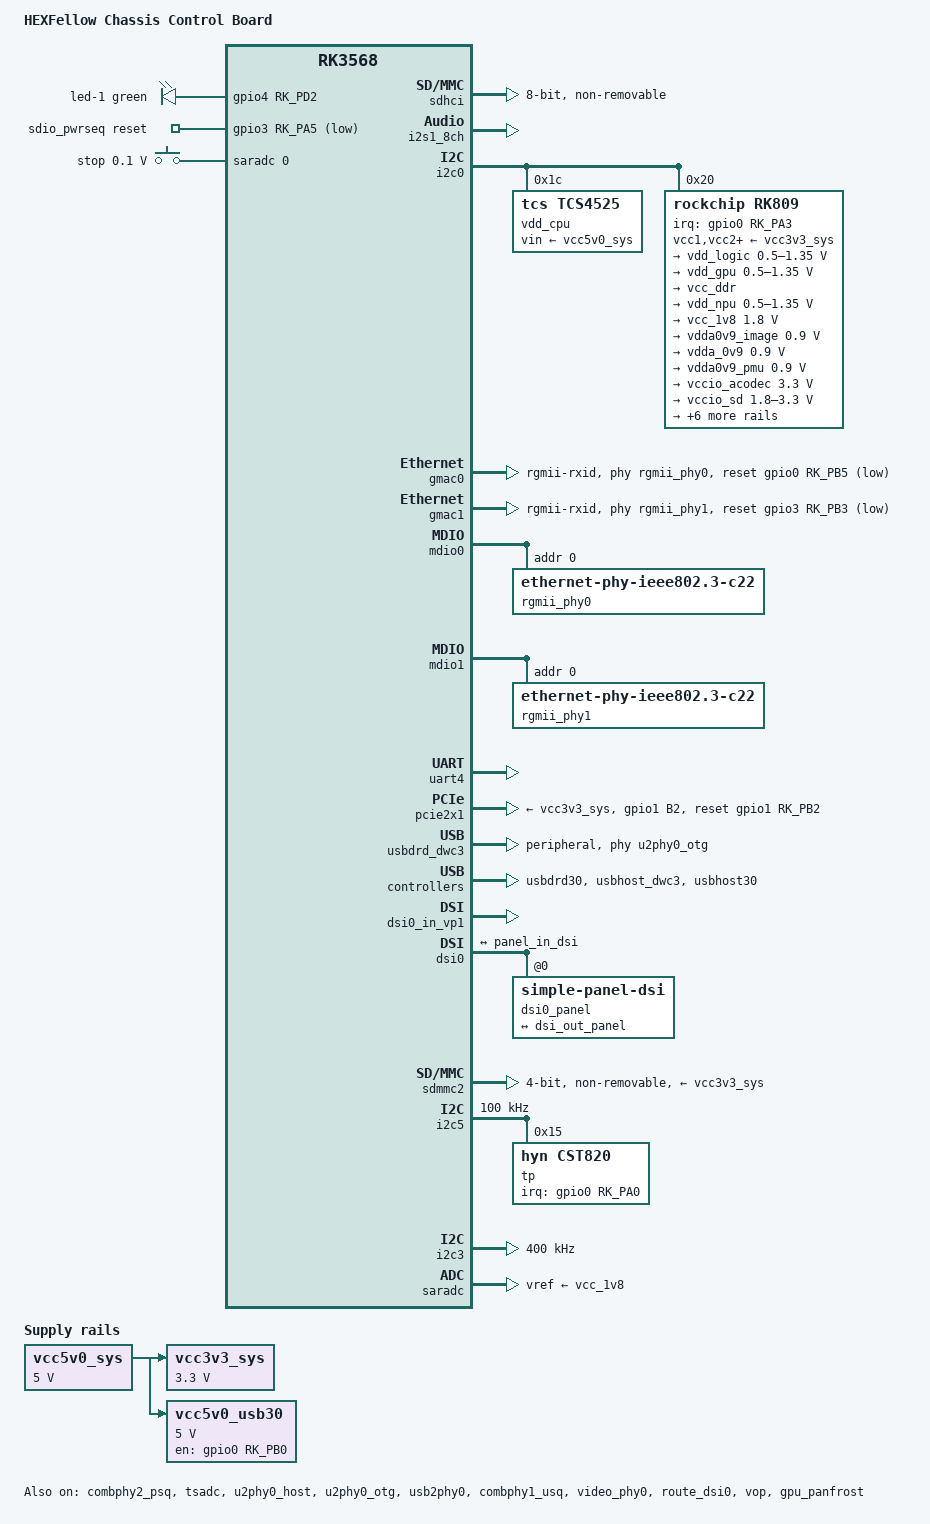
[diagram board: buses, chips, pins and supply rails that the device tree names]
// SPDX-License-Identifier: (GPL-2.0+ OR MIT)
/*
 * Copyright (c) 2022 Radxa Limited
 * Copyright (c) 2022 Amarula Solutions(India)
 */

/dts-v1/;
#include <dt-bindings/input/input.h>
#include <dt-bindings/gpio/gpio.h>
#include <dt-bindings/leds/common.h>
#include <dt-bindings/pinctrl/rockchip.h>
#include <dt-bindings/soc/rockchip,vop2.h>
#include <dt-bindings/display/drm_mipi_dsi.h>
#include <dt-bindings/phy/jlsemi-dt-phy.h>
#include "rk3568.dtsi"

/ {
	model = "HEXFellow Chassis Control Board";
	compatible = "hexfellow,ctrl-1", "rockchip,rk3568";

	aliases {
		ethernet0 = &gmac0;
		ethernet1 = &gmac1;
		mmc0 = &sdhci;
		mmc2 = &sdmmc2;
	};

	chosen: chosen {
		stdout-path = "serial2:1500000n8";
	};

	leds {
		compatible = "gpio-leds";

		led-1 {
			gpios = <&gpio4 RK_PD2 GPIO_ACTIVE_HIGH>;
			color = <LED_COLOR_ID_GREEN>;
			function = LED_FUNCTION_ACTIVITY;
			linux,default-trigger = "heartbeat";
			pinctrl-names = "default";
			pinctrl-0 = <&pi_nled_activity>;
		};
	};

	vcc5v0_sys: dc-5v-regulator {
		compatible = "regulator-fixed";
		regulator-name = "dc_5v";
		regulator-always-on;
		regulator-boot-on;
		regulator-min-microvolt = <5000000>;
		regulator-max-microvolt = <5000000>;
	};

	sdio_pwrseq: sdio-pwrseq {
		compatible = "mmc-pwrseq-simple";
		pinctrl-names = "default";
		pinctrl-0 = <&wifi_enable>;
		post-power-on-delay-ms = <100>;
		power-off-delay-us = <5000000>;
		reset-gpios = <&gpio3 RK_PA5 GPIO_ACTIVE_LOW>;
	};

	vcc3v3_sys: vcc3v3-sys-regulator {
		compatible = "regulator-fixed";
		regulator-name = "vcc3v3_sys";
		regulator-always-on;
		regulator-boot-on;
		regulator-min-microvolt = <3300000>;
		regulator-max-microvolt = <3300000>;
		vin-supply = <&vcc5v0_sys>;
	};

	vcc5v0_usb30: vcc5v0-usb30-regulator {
		compatible = "regulator-fixed";
		regulator-name = "vcc5v0_usb30";
		enable-active-high;
		gpio = <&gpio0 RK_PB0 GPIO_ACTIVE_HIGH>;
		pinctrl-names = "default";
		pinctrl-0 = <&vcc5v0_usb30_en_h>;
		regulator-always-on;
		regulator-min-microvolt = <5000000>;
		regulator-max-microvolt = <5000000>;
		vin-supply = <&vcc5v0_sys>;
	};

	rk809-sound {
		compatible = "simple-audio-card";
		simple-audio-card,format = "i2s";
		simple-audio-card,name = "rk809_ext";
		simple-audio-card,mclk-fs = <128>;
		simple-audio-card,cpu {
			sound-dai = <&i2s1_8ch>;
		};

		simple-audio-card,codec {
			sound-dai = <&rk809_codec>;
		};
	};

	fiq-debugger {
		compatible = "rockchip,fiq-debugger";
		rockchip,serial-id = <2>;
		rockchip,wake-irq = <0>;
		/* If enable uart uses irq instead of fiq */
		rockchip,irq-mode-enable = <1>;
		rockchip,baudrate = <1500000>;  /* Only 115200 and 1500000 */
		interrupts = <GIC_SPI 252 IRQ_TYPE_LEVEL_LOW>;
		pinctrl-names = "default";
		pinctrl-0 = <&uart2m0_xfer>;
		status = "okay";
	};

	debug: debug@fd904000 {
		compatible = "rockchip,debug";
		reg = <0x0 0xfd904000 0x0 0x1000>,
			<0x0 0xfd905000 0x0 0x1000>,
			<0x0 0xfd906000 0x0 0x1000>,
			<0x0 0xfd907000 0x0 0x1000>;
	};

	cspmu: cspmu@fd90c000 {
		compatible = "rockchip,cspmu";
		reg = <0x0 0xfd90c000 0x0 0x1000>,
			<0x0 0xfd90d000 0x0 0x1000>,
			<0x0 0xfd90e000 0x0 0x1000>,
			<0x0 0xfd90f000 0x0 0x1000>;
	};

	gpu_panfrost_opp_table: opp-table-panfrost {
		compatible = "operating-points-v2";

		opp-200000000 {
			opp-hz = /bits/ 64 <200000000>;
			opp-microvolt = <825000>;
		};

		opp-300000000 {
			opp-hz = /bits/ 64 <300000000>;
			opp-microvolt = <825000>;
		};

		opp-400000000 {
			opp-hz = /bits/ 64 <400000000>;
			opp-microvolt = <825000>;
		};

		opp-600000000 {
			opp-hz = /bits/ 64 <600000000>;
			opp-microvolt = <825000>;
		};

		opp-700000000 {
			opp-hz = /bits/ 64 <700000000>;
			opp-microvolt = <900000>;
		};

		opp-800000000 {
			opp-hz = /bits/ 64 <800000000>;
			opp-microvolt = <1000000>;
		};
	};

	gpu_panfrost: gpu-panfrost@fde60000 {
		compatible = "rockchip,rk3568-mali", "arm,mali-bifrost";
		reg = <0x0 0xfde60000 0x0 0x4000>;
		interrupts = <GIC_SPI 40 IRQ_TYPE_LEVEL_HIGH>,
			     <GIC_SPI 41 IRQ_TYPE_LEVEL_HIGH>,
			     <GIC_SPI 39 IRQ_TYPE_LEVEL_HIGH>;
		interrupt-names = "job", "mmu", "gpu";
		clocks = <&scmi_clk 1>, <&cru CLK_GPU>;
		clock-names = "gpu", "bus";
		#cooling-cells = <2>;
		operating-points-v2 = <&gpu_panfrost_opp_table>;
		power-domains = <&power RK3568_PD_GPU>;
		status = "okay";
		mali-supply = <&vdd_gpu>;
	};

	adc_keys: adc-keys {
		compatible = "adc-keys";
		io-channels = <&saradc 0>;
		io-channel-names = "buttons";
		keyup-threshold-microvolt = <1800000>;
		poll-interval = <50>;

		vol-up-key {
			label = "stop";
			linux,code = <KEY_STOP>;
			press-threshold-microvolt = <100000>;
		};
	};
};

&gpu_thermal {
	polling-delay-passive = <20>; /* milliseconds */
	polling-delay = <1000>; /* milliseconds */

	thermal-sensors = <&tsadc 1>;

	trips {
		gpu_threshold: gpu-threshold {
			temperature = <70000>;
			hysteresis = <2000>;
			type = "passive";
		};
		gpu_target: gpu-target {
			temperature = <75000>;
			hysteresis = <2000>;
			type = "passive";
		};
		gpu_crit: gpu-crit {
			temperature = <95000>;
			hysteresis = <2000>;
			type = "critical";
		};
	};

	cooling-maps {
		map0 {
			trip = <&gpu_target>;
			cooling-device =
				<&gpu_panfrost THERMAL_NO_LIMIT THERMAL_NO_LIMIT>;
		};
	};
};

&sdhci {
	assigned-clocks = <&cru BCLK_EMMC>, <&cru TCLK_EMMC>, <&cru CCLK_EMMC>;
	assigned-clock-rates = <200000000>, <24000000>, <200000000>;
	bus-width = <8>;
	max-frequency = <200000000>;
	mmc-hs200-1_8v;
	non-removable;
	pinctrl-names = "default";
	pinctrl-0 = <&emmc_bus8 &emmc_clk &emmc_cmd>;
	status = "okay";
};

&i2s1_8ch {
	pinctrl-0 = <&i2s1m0_sclktx
		     &i2s1m0_lrcktx
		     &i2s1m0_sdi0
		     &i2s1m0_sdo0>;
	pinctrl-names = "default";
	rockchip,trcm-sync-tx-only;
	status = "okay";
};

&cpu0 {
	cpu-supply = <&vdd_cpu>;
};

&i2c0 {
	status = "okay";

	vdd_cpu: regulator@1c {
		compatible = "tcs,tcs4525";
		reg = <0x1c>;
		fcs,suspend-voltage-selector = <1>;
		regulator-name = "vdd_cpu";
		regulator-always-on;
		regulator-boot-on;
		regulator-min-microvolt = <800000>;
		regulator-max-microvolt = <1150000>;
		regulator-ramp-delay = <2300>;
		vin-supply = <&vcc5v0_sys>;

		regulator-state-mem {
			regulator-off-in-suspend;
		};
	};

	rk809: pmic@20 {
		compatible = "rockchip,rk809";
		reg = <0x20>;
		interrupt-parent = <&gpio0>;
		interrupts = <RK_PA3 IRQ_TYPE_LEVEL_LOW>;
		#clock-cells = <1>;
		pinctrl-names = "default";
		pinctrl-0 = <&pmic_int>;
		rockchip,system-power-controller;
		vcc1-supply = <&vcc3v3_sys>;
		vcc2-supply = <&vcc3v3_sys>;
		vcc3-supply = <&vcc3v3_sys>;
		vcc4-supply = <&vcc3v3_sys>;
		vcc5-supply = <&vcc3v3_sys>;
		vcc6-supply = <&vcc3v3_sys>;
		vcc7-supply = <&vcc3v3_sys>;
		vcc8-supply = <&vcc3v3_sys>;
		vcc9-supply = <&vcc3v3_sys>;
		wakeup-source;

		regulators {
			vdd_logic: DCDC_REG1 {
				regulator-name = "vdd_logic";
				regulator-always-on;
				regulator-boot-on;
				regulator-min-microvolt = <500000>;
				regulator-max-microvolt = <1350000>;
				regulator-ramp-delay = <6001>;
				regulator-initial-mode = <0x2>;

				regulator-state-mem {
					regulator-off-in-suspend;
				};
			};

			vdd_gpu: DCDC_REG2 {
				regulator-name = "vdd_gpu";
				regulator-always-on;
				regulator-boot-on;
				regulator-min-microvolt = <500000>;
				regulator-max-microvolt = <1350000>;
				regulator-ramp-delay = <6001>;
				regulator-initial-mode = <0x2>;

				regulator-state-mem {
					regulator-off-in-suspend;
				};
			};

			vcc_ddr: DCDC_REG3 {
				regulator-name = "vcc_ddr";
				regulator-always-on;
				regulator-boot-on;
				regulator-initial-mode = <0x2>;

				regulator-state-mem {
					regulator-on-in-suspend;
				};
			};

			vdd_npu: DCDC_REG4 {
				regulator-name = "vdd_npu";
				regulator-always-on;
				regulator-boot-on;
				regulator-min-microvolt = <500000>;
				regulator-max-microvolt = <1350000>;
				regulator-ramp-delay = <6001>;
				regulator-initial-mode = <0x2>;

				regulator-state-mem {
					regulator-off-in-suspend;
				};
			};

			vcc_1v8: DCDC_REG5 {
				regulator-name = "vcc_1v8";
				regulator-always-on;
				regulator-boot-on;
				regulator-min-microvolt = <1800000>;
				regulator-max-microvolt = <1800000>;

				regulator-state-mem {
					regulator-off-in-suspend;
				};
			};

			vdda0v9_image: LDO_REG1 {
				regulator-name = "vdda0v9_image";
				regulator-boot-on;
				regulator-always-on;
				regulator-min-microvolt = <900000>;
				regulator-max-microvolt = <900000>;

				regulator-state-mem {
					regulator-off-in-suspend;
				};
			};

			vdda_0v9: LDO_REG2 {
				regulator-name = "vdda_0v9";
				regulator-always-on;
				regulator-boot-on;
				regulator-min-microvolt = <900000>;
				regulator-max-microvolt = <900000>;

				regulator-state-mem {
					regulator-off-in-suspend;
				};
			};

			vdda0v9_pmu: LDO_REG3 {
				regulator-name = "vdda0v9_pmu";
				regulator-always-on;
				regulator-boot-on;
				regulator-min-microvolt = <900000>;
				regulator-max-microvolt = <900000>;

				regulator-state-mem {
					regulator-on-in-suspend;
					regulator-suspend-microvolt = <900000>;
				};
			};

			vccio_acodec: LDO_REG4 {
				regulator-name = "vccio_acodec";
				regulator-always-on;
				regulator-boot-on;
				regulator-min-microvolt = <3300000>;
				regulator-max-microvolt = <3300000>;

				regulator-state-mem {
					regulator-off-in-suspend;
				};
			};

			vccio_sd: LDO_REG5 {
				regulator-name = "vccio_sd";
				regulator-always-on;
				regulator-boot-on;
				regulator-min-microvolt = <1800000>;
				regulator-max-microvolt = <3300000>;

				regulator-state-mem {
					regulator-off-in-suspend;
				};
			};

			vcc3v3_pmu: LDO_REG6 {
				regulator-name = "vcc3v3_pmu";
				regulator-always-on;
				regulator-boot-on;
				regulator-min-microvolt = <3300000>;
				regulator-max-microvolt = <3300000>;

				regulator-state-mem {
					regulator-on-in-suspend;
					regulator-suspend-microvolt = <3300000>;
				};
			};

			vcca_1v8: LDO_REG7 {
				regulator-name = "vcca_1v8";
				regulator-always-on;
				regulator-boot-on;
				regulator-min-microvolt = <1800000>;
				regulator-max-microvolt = <1800000>;

				regulator-state-mem {
					regulator-off-in-suspend;
				};
			};

			vcca1v8_pmu: LDO_REG8 {
				regulator-name = "vcca1v8_pmu";
				regulator-always-on;
				regulator-boot-on;
				regulator-min-microvolt = <1800000>;
				regulator-max-microvolt = <1800000>;

				regulator-state-mem {
					regulator-on-in-suspend;
					regulator-suspend-microvolt = <1800000>;
				};
			};

			vcca1v8_image: LDO_REG9 {
				regulator-name = "vcca1v8_image";
				regulator-always-on;
				regulator-boot-on;
				regulator-min-microvolt = <1800000>;
				regulator-max-microvolt = <1800000>;

				regulator-state-mem {
					regulator-off-in-suspend;
				};
			};

			vcc_3v3: SWITCH_REG1 {
				regulator-name = "vcc_3v3";
				regulator-always-on;
				regulator-boot-on;

				regulator-state-mem {
					regulator-off-in-suspend;
				};
			};

			vcc3v3_sd: SWITCH_REG2 {
				regulator-name = "vcc3v3_sd";
				regulator-always-on;
				regulator-boot-on;

				regulator-state-mem {
					regulator-off-in-suspend;
				};
			};
		};

		rk809_codec: codec {
			#sound-dai-cells = <0>;
			compatible = "rockchip,rk809-codec", "rockchip,rk817-codec";
			clocks = <&cru I2S1_MCLKOUT>;
			clock-names = "mclk";
			assigned-clocks = <&cru I2S1_MCLKOUT>, <&cru I2S1_MCLK_TX_IOE>;
			assigned-clock-rates = <12288000>;
			assigned-clock-parents = <&cru I2S1_MCLKOUT_TX>, <&cru I2S1_MCLKOUT_TX>;
			pinctrl-names = "default";
			pinctrl-0 = <&i2s1m0_mclk>, <&spk_ctl>;
			hp-volume = <20>;
			spk-volume = <3>;
			status = "okay";
			spk-ctl-gpios = <&gpio0 RK_PD5 GPIO_ACTIVE_HIGH>;
			use-ext-amplifier;
		};
	};
};

&i2s1_8ch {
	rockchip,trcm-sync-tx-only;
	status = "okay";
};


&gmac0 {
	phy-mode = "rgmii-rxid";
	clock_in_out = "output";

	snps,reset-gpio = <&gpio0 RK_PB5 GPIO_ACTIVE_LOW>;
	snps,reset-active-low;
	/* Reset time is 75ms, 100ms */
	snps,reset-delays-us = <0 75000 100000>;

	assigned-clocks = <&cru SCLK_GMAC0_RX_TX>, <&cru SCLK_GMAC0>;
	assigned-clock-parents = <&cru SCLK_GMAC0_RGMII_SPEED>;
	assigned-clock-rates = <0>, <125000000>;

	pinctrl-names = "default";
	pinctrl-0 = <&gmac0_miim
			 &gmac0_tx_bus2
			 &gmac0_rx_bus2
			 &gmac0_rgmii_clk
			 &gmac0_rgmii_bus>;

	tx_delay = <0x13>;

	phy-handle = <&rgmii_phy0>;
	status = "okay";
};

&gmac1 {
	phy-mode = "rgmii-rxid";
	clock_in_out = "output";

	snps,reset-gpio = <&gpio3 RK_PB3 GPIO_ACTIVE_LOW>;
	snps,reset-active-low;
	/* Reset time is 75ms, 100ms */
	snps,reset-delays-us = <0 75000 100000>;

	assigned-clocks = <&cru SCLK_GMAC1_RX_TX>, <&cru SCLK_GMAC1>;
	assigned-clock-parents = <&cru SCLK_GMAC1_RGMII_SPEED>;
	assigned-clock-rates = <0>, <125000000>;

	pinctrl-names = "default";
	pinctrl-0 = <&gmac1m1_miim
			 &gmac1m1_tx_bus2
			 &gmac1m1_rx_bus2
			 &gmac1m1_rgmii_clk
			 &gmac1m1_rgmii_bus>;

	tx_delay = <0x1b>;

	phy-handle = <&rgmii_phy1>;
	status = "okay";
};

&mdio0 {
	rgmii_phy0: phy@0 {
		compatible = "ethernet-phy-ieee802.3-c22";
		reg = <0x0>;
		jl2xxx,led-enable = <(JL2XXX_LED_STATIC_OP_EN | JL2XXX_LED_MODE_EN)>;
		jl2xxx,led-mode = <( JL2XXX_LED0_LINK1000 |
			JL2XXX_LED2_LINK10  | JL2XXX_LED2_LINK100  |
			JL2XXX_LED2_LINK1000 | JL2XXX_LED2_ACTIVITY )>;
	};
};

&mdio1 {
	rgmii_phy1: phy@0 {
		compatible = "ethernet-phy-ieee802.3-c22";
		reg = <0x0>;
		jl2xxx,led-enable = <(JL2XXX_LED_STATIC_OP_EN | JL2XXX_LED_MODE_EN)>;
		jl2xxx,led-mode = <( JL2XXX_LED0_LINK1000 |
			JL2XXX_LED2_LINK10  | JL2XXX_LED2_LINK100  |
			JL2XXX_LED2_LINK1000 | JL2XXX_LED2_ACTIVITY )>;
	};
};

&pmu_io_domains {
	pmuio1-supply = <&vcc3v3_pmu>;
	pmuio2-supply = <&vcc3v3_pmu>;
	vccio1-supply = <&vccio_acodec>;
	vccio3-supply = <&vccio_sd>;
	vccio4-supply = <&vcc_1v8>;
	vccio5-supply = <&vcc_3v3>;
	vccio6-supply = <&vcc_1v8>;
	vccio7-supply = <&vcc_3v3>;
	status = "okay";
};

&pinctrl {
	leds {
		pi_nled_activity: pi-nled-activity {
			rockchip,pins = <4 RK_PB2 RK_FUNC_GPIO &pcfg_pull_none>;
		};
	};

	usb {
		vcc5v0_usb30_en_h: vcc5v0-host-en-h {
			rockchip,pins = <0 RK_PB0 RK_FUNC_GPIO &pcfg_pull_none>;
		};
	};

	sound {
		spk_ctl: spk-ctl {
			rockchip,pins = <0 RK_PD5 RK_FUNC_GPIO &pcfg_pull_none>;
		};
	};

	sdio-pwrseq {
		wifi_enable: wifi-enable {
			rockchip,pins = <3 RK_PA5 RK_FUNC_GPIO &pcfg_pull_none>;
		};
	};

	pmic {
		pmic_int: pmic-int {
			rockchip,pins = <0 RK_PA3 RK_FUNC_GPIO &pcfg_pull_up>;
		};
	};

	pcie {
		pcie_reset_h: pcie-reset-h {
			rockchip,pins = <1 RK_PB2 RK_FUNC_GPIO &pcfg_pull_none>;
		};
	};

	i2c-gpio-pins {
		i2c_gpio_0: i2c-gpio-0 {
			rockchip,pins = <4 RK_PD0 RK_FUNC_GPIO &pcfg_pull_up>,
					<4 RK_PC7 RK_FUNC_GPIO &pcfg_pull_up>;
		};
	};
};

&uart2 {
	// Console is handled with FIQ
	status = "disabled";
};

&uart4 {
	status = "okay";
	pinctrl-0 = <&uart4m1_xfer>;
};

&pcie2x1 {
	pinctrl-names = "default";
	pinctrl-0 = <&pcie_reset_h>;
	reset-gpios = <&gpio1 RK_PB2 GPIO_ACTIVE_HIGH>;
	vpcie3v3-supply = <&vcc3v3_sys>;
	status = "okay";
};

&combphy2_psq {
	 status = "okay";
};

&tsadc {
	status = "okay";
};

&u2phy0_host {
	phy-supply = <&vcc5v0_usb30>;
	status = "okay";
};

&u2phy0_otg {
	status = "okay";
	rockchip,dis-u2-susphy;
};

&usb2phy0 {
	status = "okay";
};

&usbdrd_dwc3 {
	dr_mode = "peripheral";
	phys = <&u2phy0_otg>;
	phy-names = "usb2-phy";
	extcon = <&usb2phy0>;
	maximum-speed = "high-speed";
	snps,dis_u2_susphy_quirk;
	status = "okay";
};

&usbdrd30 {
	status = "okay";
};

&usbhost_dwc3 {
	status = "okay";
};

&usbhost30 {
	status = "okay";
};

&combphy1_usq {
	status = "okay";
};

&video_phy0 {
	status = "okay";
};

&route_dsi0 {
	status = "okay";
	connect = <&vp1_out_dsi0>;
};

&dsi0_in_vp0 {
	status = "disabled";
};

&dsi0_in_vp1 {
	status = "okay";
};

&dsi0 {
	status = "okay";
	dsi0_panel: panel@0 {
		status = "okay";
		compatible = "simple-panel-dsi";
		reg = <0>;
		width-mm = <36>;
		height-mm = <36>;
		dsi,flags = <MIPI_DSI_MODE_LPM>;
		dsi,format = <MIPI_DSI_FMT_RGB888>;
		dsi,lanes  = <2>;
		panel-init-sequence = [
			05 78 01 11
			23 00 02 FE 20
			23 00 02 F4 5A
			23 00 02 F5 59
			23 00 02 FE 80
			23 00 02 A0 FC
			23 00 02 03 01
			23 00 02 FE 00
			05 00 01 34
			23 00 02 53 20
			23 00 02 51 FF
			23 00 02 36 00
			23 00 02 63 AB
			29 00 05 2A 00 05 01 D8
			29 00 05 2B 00 00 01 D3
			05 1E 01 29
		];

		panel-exit-sequence = [
			05 00 01 28
			05 00 01 10
		];

		disp_timings0: display-timings {
			native-mode = <&dsi0_timing0>;
			dsi0_timing0: timing0 {
				clock-frequency = <16971120>;
				hactive = <468>;
				vactive = <468>;
				hfront-porch = <100>;
				hsync-len = <4>;
				hback-porch = <12>;
				vfront-porch = <10>;
				vsync-len = <2>;
				vback-porch = <8>;
				hsync-active = <0>;
				vsync-active = <0>;
				de-active = <0>;
				pixelclk-active = <1>;
			};
		};

		ports {
			#address-cells = <1>;
			#size-cells = <0>;

			port@0 {
				reg = <0>;
				panel_in_dsi: endpoint {
					remote-endpoint = <&dsi_out_panel>;
				};
			};
		};
	};

	ports {
		#address-cells = <1>;
		#size-cells = <0>;

		port@1 {
			reg = <1>;
			dsi_out_panel: endpoint {
				remote-endpoint = <&panel_in_dsi>;
			};
		};
	};

};

&vop {
	status = "okay";
	vop-supply = <&vdd_logic>;
	assigned-clocks = <&cru DCLK_VOP0>, <&cru DCLK_VOP1>, <&cru DCLK_VOP2>;
	assigned-clock-parents = <&pmucru PLL_HPLL>, <&cru PLL_VPLL>, <&cru PLL_GPLL>;
};

&vop_mmu {
	status = "okay";
};

&sdmmc2 {
	bus-width = <4>;
	disable-wp;
	cap-sd-highspeed;
	cap-sdio-irq;
	keep-power-in-suspend;
	mmc-pwrseq = <&sdio_pwrseq>;
	non-removable;
	pinctrl-names = "default";
	pinctrl-0 = <&sdmmc2m0_bus4 &sdmmc2m0_cmd &sdmmc2m0_clk>;
	sd-uhs-sdr12;
	sd-uhs-sdr25;
	sd-uhs-sdr50;
	sd-uhs-sdr104;
	vmmc-supply = <&vcc3v3_sys>;
	vqmmc-supply = <&vcc_1v8>;
	status = "okay";
};

&i2c5 {
	status = "okay";
	pinctrl-0 = <&i2c5m1_xfer>;
	clock-frequency = <100000>;

	tp@15 {
		compatible = "hyn,cst820";
		reg = <0x15>;
		interrupt-parent = <&gpio0>;
		interrupts = <RK_PA0 IRQ_TYPE_LEVEL_LOW>;
	};
};

&i2c3 {
	status = "okay";
	pinctrl-0 = <&i2c3m1_xfer>;
	clock-frequency = <400000>;
};

&saradc {
	status = "okay";
	vref-supply = <&vcc_1v8>;
};
